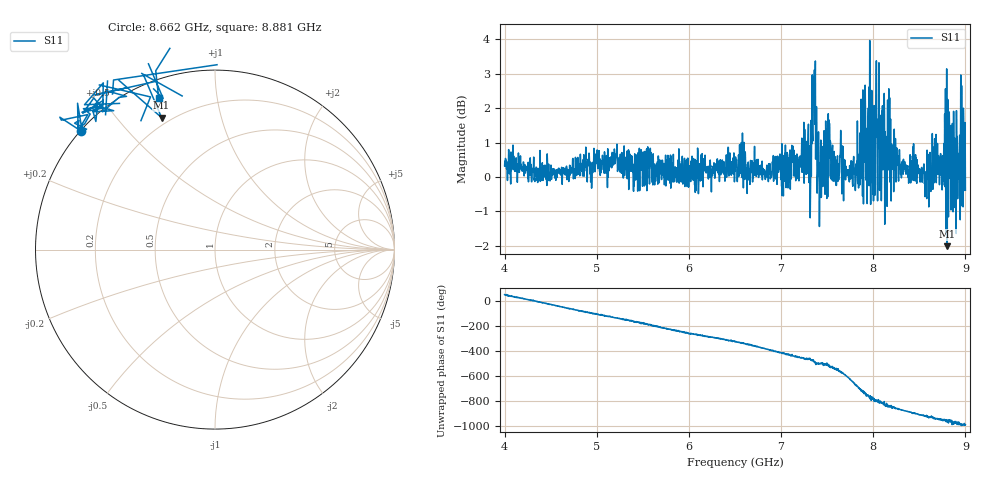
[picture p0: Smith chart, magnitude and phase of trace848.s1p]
! Created with skrf 1.8.0 (http://scikit-rf.org).
# Hz S RI R 50.0
!freq ReS11 ImS11
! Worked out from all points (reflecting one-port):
!   1601 points, 4 GHz to 9 GHz, reference 50 ohm
!   lowest |S11| = -2.0 dB at 8.803 GHz (marker M1), VSWR 8.70, Z = 8.31 + j33.1 ohm
!   phase of S11 starts at 53 deg and turns -1045 deg over the sweep
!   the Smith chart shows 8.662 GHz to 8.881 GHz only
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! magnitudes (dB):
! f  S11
! 4 GHz  0.3
! 4.625 GHz  -0.2
! 5.25 GHz  0.2
! 5.875 GHz  0.0
! 6.5 GHz  0.3
! 7.125 GHz  0.7
! 7.306 GHz  0.8
! 7.362 GHz  3.1
! 7.4 GHz  0.3
! 7.416 GHz  -1.4
! 7.534 GHz  1.0
! 7.588 GHz  -0.1
! 7.75 GHz  -0.1
! 7.831 GHz  0.7
! 7.928 GHz  1.4
! 7.969 GHz  1.7
! 7.997 GHz  -0.5
! 8.05 GHz  1.5
! 8.066 GHz  1.0
! 8.097 GHz  0.7
! 8.375 GHz  0.3
! 8.581 GHz  -0.6
! 8.656 GHz  0.9
! 8.766 GHz  1.0
! 8.803 GHz  -2.0
! 8.903 GHz  1.9
! 8.972 GHz  1.1
! 9 GHz  -0.4
